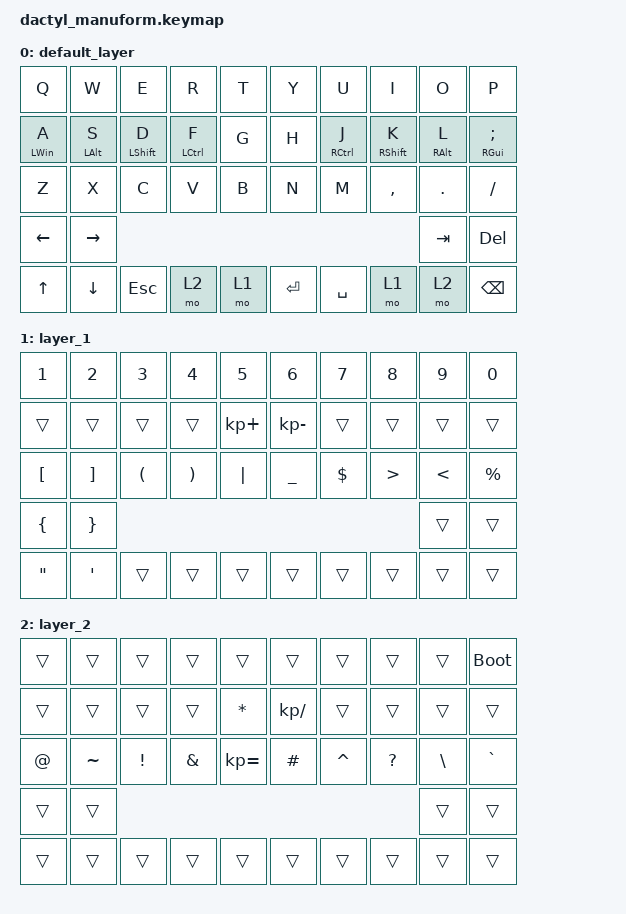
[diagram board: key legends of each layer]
#include <dt-bindings/zmk/mouse.h>
#include <behaviors.dtsi>
#include <dt-bindings/zmk/bt.h>
#include <dt-bindings/zmk/keys.h>

#define DEFAULT 0
#define LOWER 1
#define RAISE 2
#define ADJUST 3

/ {
    combos {
        compatible = "zmk,combos";

        bootloader {
            bindings = <&bootloader>;
            key-positions = <1 3 4>;
        };

        bt_nxt {
            bindings = <&bt BT_NXT>;
            key-positions = <32 0>;
        };

        bt_clr {
            bindings = <&bt BT_CLR>;
            key-positions = <0 36>;
        };
    };

    behaviors {
        mtl: mtl {
            compatible = "zmk,behavior-hold-tap";
            label = "MTL";
            bindings = <&kp>, <&kp>;

            #binding-cells = <2>;
            tapping-term-ms = <280>;
            hold-trigger-key-positions = <5 15 25 26 27 34 35 6 7 8 16 17 18 26 27 28 9 19 29 33 40 43>;
            hold-trigger-on-release;
            flavor = "balanced";
            require-prior-idle-ms = <125>;
            quick-tap-ms = <175>;
        };

        mtr: mtr {
            compatible = "zmk,behavior-hold-tap";
            label = "MTR";
            bindings = <&kp>, <&kp>;

            #binding-cells = <2>;
            tapping-term-ms = <280>;
            hold-trigger-on-release;
            hold-trigger-key-positions = <0 1 2 3 4 10 11 12 13 14 20 21 22 23 24 30 31 32 36 39>;
            quick-tap-ms = <175>;
            require-prior-idle-ms = <125>;
            flavor = "balanced";
        };
    };

    keymap {
        compatible = "zmk,keymap";

        default_layer {
            bindings = <
  &kp Q            &kp W            &kp E              &kp R         &kp T    &kp Y      &kp U                 &kp I               &kp O             &kp P
  &mtl LEFT_WIN A  &mtl LEFT_ALT S  &mtl LEFT_SHIFT D  &mtl LCTRL F  &kp G    &kp H      &mtr RIGHT_CONTROL J  &mtr RIGHT_SHIFT K  &mtr RIGHT_ALT L  &mtr RIGHT_GUI SEMICOLON
  &kp Z            &kp X            &kp C              &kp V         &kp B    &kp N      &kp M                 &kp COMMA           &kp DOT           &kp SLASH
  &kp LEFT         &kp RIGHT                                                                                                       &kp TAB           &kp DELETE
  &kp UP_ARROW     &kp DOWN         &kp ESCAPE         &mo 2         &mo 1    &kp ENTER  &kp SPACE             &mo 1               &mo 2             &kp BACKSPACE
            >;
        };

        layer_1 {
            bindings = <
  &kp NUMBER_1       &kp NUMBER_2       &kp NUMBER_3          &kp NUMBER_4           &kp NUMBER_5    &kp NUMBER_6    &kp NUMBER_7  &kp NUMBER_8      &kp NUMBER_9   &kp NUMBER_0
  &trans             &trans             &trans                &trans                 &kp KP_PLUS     &kp KP_MINUS    &trans        &trans            &trans         &trans
  &kp LEFT_BRACKET   &kp RIGHT_BRACKET  &kp LEFT_PARENTHESIS  &kp RIGHT_PARENTHESIS  &kp PIPE        &kp UNDERSCORE  &kp DOLLAR    &kp GREATER_THAN  &kp LESS_THAN  &kp PERCENT
  &kp LEFT_BRACE     &kp RIGHT_BRACE                                                                                                                 &trans         &trans
  &kp DOUBLE_QUOTES  &kp APOSTROPHE     &trans                &trans                 &trans          &trans          &trans        &trans            &trans         &trans
            >;
        };

        layer_2 {
            bindings = <
  &trans  &trans     &trans           &trans         &trans          &trans         &trans     &trans        &trans         &bootloader
  &trans  &trans     &trans           &trans         &kp ASTRK       &kp KP_DIVIDE  &trans     &trans        &trans         &trans
  &kp AT  &kp TILDE  &kp EXCLAMATION  &kp AMPERSAND  &kp KP_EQUAL    &kp HASH       &kp CARET  &kp QUESTION  &kp BACKSLASH  &kp GRAVE
  &trans  &trans                                                                                             &trans         &trans
  &trans  &trans     &trans           &trans         &trans          &trans         &trans     &trans        &trans         &trans
            >;
        };

        /* Commented out additional layers for now - will add back later
        lower_layer {
            bindings = <
                &kp N1 &kp N2 &kp N3 &kp N4 &kp N5                             &kp N6   &kp N7   &kp N8   &kp N9   &kp N0
                &kp F1 &kp F2 &kp F3 &kp F4 &kp F5                             &kp F6   &kp F7   &kp F8   &kp F9   &kp F10
                &trans &trans &trans &trans &trans                             &trans   &trans   &kp F11  &kp F12  &trans
                       &trans &trans &trans                                     &trans   &trans
                       &trans &trans &trans &trans                             &trans   &trans
                                                                              &trans
            >;
        };

        raise_layer {
            bindings = <
                &kp EXCL &kp AT &kp HASH &kp DLLR &kp PRCNT                     &kp CARET &kp AMPS &kp ASTRK &kp LPAR &kp RPAR
                &trans   &trans &trans   &trans   &trans                        &kp LEFT  &kp DOWN &kp UP    &kp RIGHT &trans
                &trans   &trans &trans   &trans   &trans                        &kp HOME  &kp PG_DN &kp PG_UP &kp END  &kp PIPE
                         &trans &trans   &trans                                 &trans    &trans
                         &trans &trans   &trans &trans                         &trans    &trans
                                                                               &trans
            >;
        };

        adjust_layer {
            bindings = <
                &bt BT_CLR &bt BT_SEL 0 &bt BT_SEL 1 &bt BT_SEL 2 &bt BT_SEL 3    &trans &trans &trans &trans &trans
                &out OUT_TOG &trans     &trans       &trans       &trans           &trans &trans &trans &trans &trans
                &trans       &trans     &trans       &trans       &trans           &trans &trans &trans &trans &trans
                             &trans     &trans       &trans                        &trans &trans
                             &trans     &trans       &trans &trans                 &trans &trans
                                                                                   &trans
            >;
        };
        */
    };
};
